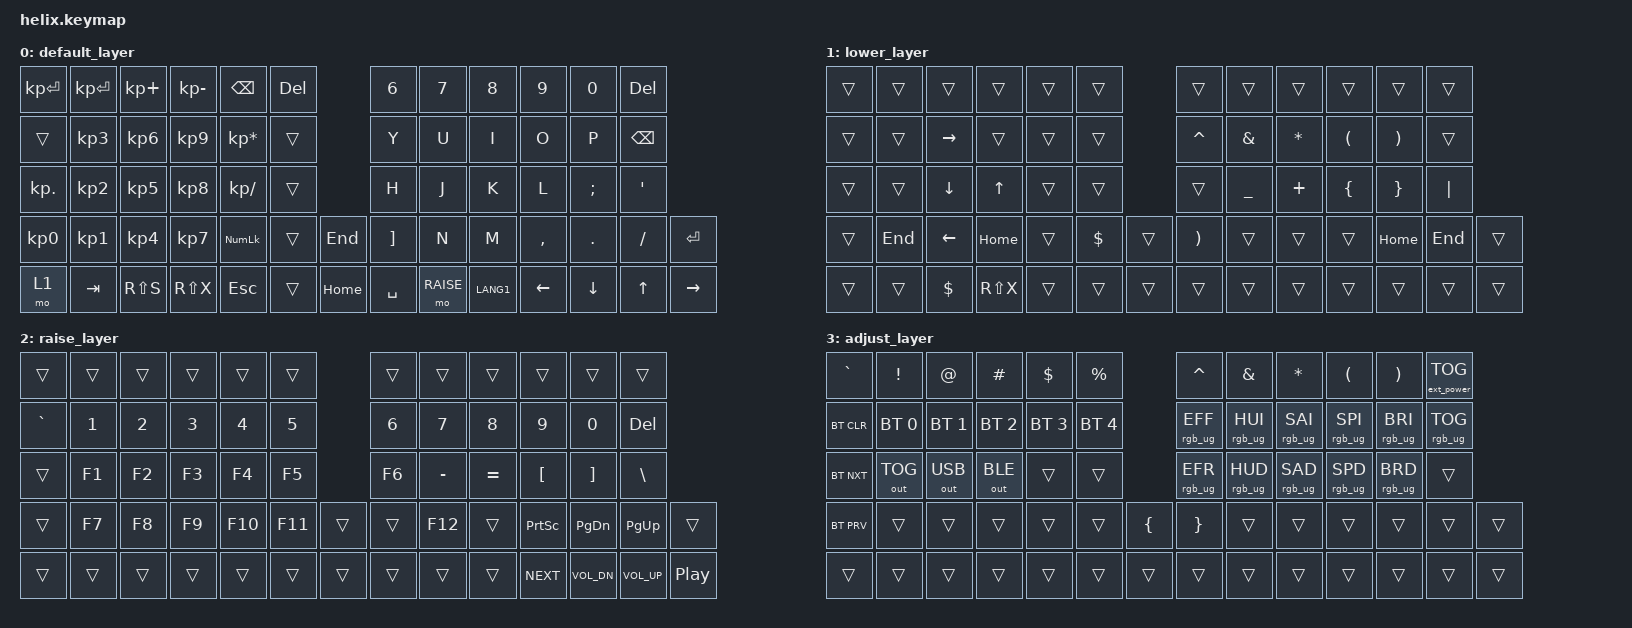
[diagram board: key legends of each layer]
/*
 * Copyright (c) 2020 The ZMK Contributors
 *
 * SPDX-License-Identifier: MIT
 */

 #include <behaviors.dtsi>
 #include <dt-bindings/zmk/keys.h>
 #include <dt-bindings/zmk/bt.h>
 #include <dt-bindings/zmk/rgb.h>
 #include <dt-bindings/zmk/ext_power.h>
 #include <dt-bindings/zmk/outputs.h>

 #define DEFAULT 0
 #define LOWER  1
 #define RAISE  2
 #define ADJUST 3

/* NOTE: At the time of the creation of this keymap, there are no specified codes for 'eisuu' and 'kana' input in ZMK.
However, 'LANG1' and 'LANG2' are fully-functioning candidates for 'kana' and 'eisuu' input respectively.
As such, those are in use within the default layer at this time.*/

/ {
       keymap {
              compatible = "zmk,keymap";

              default_layer {
 // ---------------------------------------------------------------------------------------------------------------------------------
 // |  ENTER         | ENTER        |   +           |   -           |   BKSPC         |  DEL                                                 |   6    |   7    |   8    |   9    |   0    |  DEL   |
 // |                | 3            |   6           |   9           |   *             |               |                                      |   Y    |   U    |   I    |   O    |   P    |  BSPC  |
 // |  .             | 2            |   5           |   8           |   /             |               |                                      |   H    |   J    |   K    |   L    |   ;    |   '    |
 // |  0             | 1            |   4           |   7           |   NUM           |               | END       |           |  RBKT  |   N    |   M    |   ,    |   .    |   /    |  RET   |
 // |  LOWER         | TAB          |   S           |   X           |   ESC           |               | HOME      |                    |  SPACE | RAISE  |  KANA  |  LEFT  |  DOWN  |  UP    |  RIGHT |
                     bindings = <
       &kp KP_ENTER  &kp KP_ENTER   &kp KP_PLUS     &kp KP_MINUS    &kp BSPC          &kp DELETE                           &kp N6    &kp N7    &kp N8    &kp N9     &kp N0    &kp DEL
       &trans        &kp KP_N3      &kp KP_N6       &kp KP_N9       &kp KP_MULTIPLY   &trans                               &kp Y     &kp U     &kp I     &kp O      &kp P     &kp BSPC
       &kp KP_DOT    &kp KP_N2      &kp KP_N5       &kp KP_N8       &kp KP_DIVIDE     &trans                               &kp H     &kp J     &kp K     &kp L      &kp SEMI  &kp SQT
       &kp KP_N0     &kp KP_N1      &kp KP_N4       &kp KP_N7       &kp KP_NUM        &trans           &kp END             &kp RBKT  &kp N     &kp M     &kp COMMA &kp PERIOD &kp SLASH &kp RET
       &mo 1         &kp TAB        &kp RS(S)       &kp RS(X)       &kp ESC           &trans           &kp HOME            &kp SPACE &mo RAISE &kp LANG1 &kp LEFT  &kp DOWN   &kp UP    &kp RIGHT
                     >;
              };
              lower_layer {
  // ---------------------------------------------------------------------------------------------------------------------------------
  // |                |              |             |               |                 |                |                                      |   6    |   7    |   8    |   9    |   0    |  DEL   |
  // |                |              |   RIGHT     |               |                 |                |                                      |   Y    |   U    |   I    |   O    |   P    |  BSPC  |
  // |                |              |   DOWN      |   UP          |                 |                |                                      |   H    |   J    |   K    |   L    |   ;    |   '    |
  // |                |  END         |   LEFT      |   HOME        |                 |  $             |       7                   |  RBKT  |   N    |   M    |   ,    |   .    |   /    |  RET   |
  // |                |              |   $         |   S           |                 |                |             |                    |  SPACE | RAISE  |  KANA  |  LEFT  |  DOWN  |  UP    |  RIGHT |
                     bindings = <
       &trans         &trans         &trans         &trans          &trans            &trans                                                &trans    &trans    &trans    &trans   &trans   &trans
       &trans         &trans         &kp RIGHT      &trans          &trans            &trans                                     &kp CARET &kp AMPS  &kp ASTRK &kp LPAR &kp RPAR &trans
       &trans         &trans         &kp DOWN       &kp UP          &trans            &trans                             &trans    &kp UNDER &kp PLUS  &kp LBRC &kp RBRC &kp PIPE
       &trans         &kp END        &kp LEFT       &kp HOME        &trans            &kp DOLLAR         &trans        &kp RPAR &trans    &trans    &trans    &kp HOME &kp END  &trans
       &trans         &trans         &kp DOLLAR     &kp RS(X)       &trans            &trans             &trans          &trans   &trans    &trans    &trans    &trans   &trans   &trans
                     >;
              };
              raise_layer {
 // ---------------------------------------------------------------------------------------------------------------------------------
 // |       |       |       |       |       |       |                                    |       |       |       |       |       |       |
 // |   `   |   1   |   2   |   3   |   4   |   5   |                                    |   6   |   7   |   8   |   9   |   0   |  DEL  |
 // |       |  F1   |  F2   |  F3   |  F4   |  F5   |                                    |  F6   |   -   |   =   |   [   |   ]   |   \   |
 // |       |  F7   |  F8   |  F9   |  F10  |  F11  |       |                    |       |  F12  |       | PSCRN | PG_DN | PG_UP |       |
 // |       |       |       |       |       |       |       |                    |       |       |       | NEXT  | VOL-  | VOL+  | PLAY  |
                     bindings = <
       &trans    &trans &trans &trans &trans  &trans                       &trans  &trans    &trans     &trans       &trans       &trans
       &kp GRAVE &kp N1 &kp N2 &kp N3 &kp N4  &kp N5                       &kp N6  &kp N7    &kp N8     &kp N9       &kp N0       &kp DEL
       &trans    &kp F1 &kp F2 &kp F3 &kp F4  &kp F5                       &kp F6  &kp MINUS &kp EQUAL  &kp LBKT     &kp RBKT     &kp BSLH
       &trans    &kp F7 &kp F8 &kp F9 &kp F10 &kp F11 &trans        &trans &kp F12 &trans    &kp PSCRN  &kp PG_DN    &kp PG_UP    &trans
       &trans    &trans &trans &trans &trans  &trans  &trans        &trans &trans  &trans    &kp C_NEXT &kp C_VOL_DN &kp C_VOL_UP &kp C_PP
                     >;
              };
              adjust_layer {
 // ---------------------------------------------------------------------------------------------------------------------------------
 // |    `     |    !     |    @     |    #     |    $     |    %     |                                          |    ^     |    &     |    *     |    (     |    )     |  EP TOG  |
 // |  BT CLR  | BT SEL0  | BT SEL1  | BT SEL2  | BGT SEL3 | BT SEL4  |                                          | RGB EFF+ | RGB HUE+ | RGB SAT+ | RGB SPD+ | RGB BRI+ | RGB TOG  |
 // |  BT NXT  | OUT TOG  | OUT USB  | OUT BLE  |          |          |                                          | RGB EFF- | RGB HUE- | RGB SAT- | RGB SPD- | RGB BRI- |          |
 // |  BT PRV  |          |          |          |          |          |    {     |                    |    }     |          |          |          |          |          |          |
 // |          |          |          |          |          |          |          |                    |          |          |          |          |          |          |          |
                     bindings = <
       &kp GRAVE  &kp EXCL     &kp AT       &kp HASH     &kp DLLR     &kp PRCNT                             &kp CARET       &kp AMPS        &kp ASTRK       &kp LPAR        &kp RPAR        &ext_power EP_TOG
       &bt BT_CLR &bt BT_SEL 0 &bt BT_SEL 1 &bt BT_SEL 2 &bt BT_SEL 3 &bt BT_SEL 4                          &rgb_ug RGB_EFF &rgb_ug RGB_HUI &rgb_ug RGB_SAI &rgb_ug RGB_SPI &rgb_ug RGB_BRI &rgb_ug RGB_TOG
       &bt BT_NXT &out OUT_TOG &out OUT_USB &out OUT_BLE &trans       &trans                                &rgb_ug RGB_EFR &rgb_ug RGB_HUD &rgb_ug RGB_SAD &rgb_ug RGB_SPD &rgb_ug RGB_BRD &trans
       &bt BT_PRV &trans       &trans       &trans       &trans       &trans       &kp LBRC        &kp RBRC &trans          &trans          &trans          &trans          &trans          &trans
       &trans     &trans       &trans       &trans       &trans       &trans       &trans          &trans   &trans          &trans          &trans          &trans          &trans          &trans
                     >;
              };
       };
};
